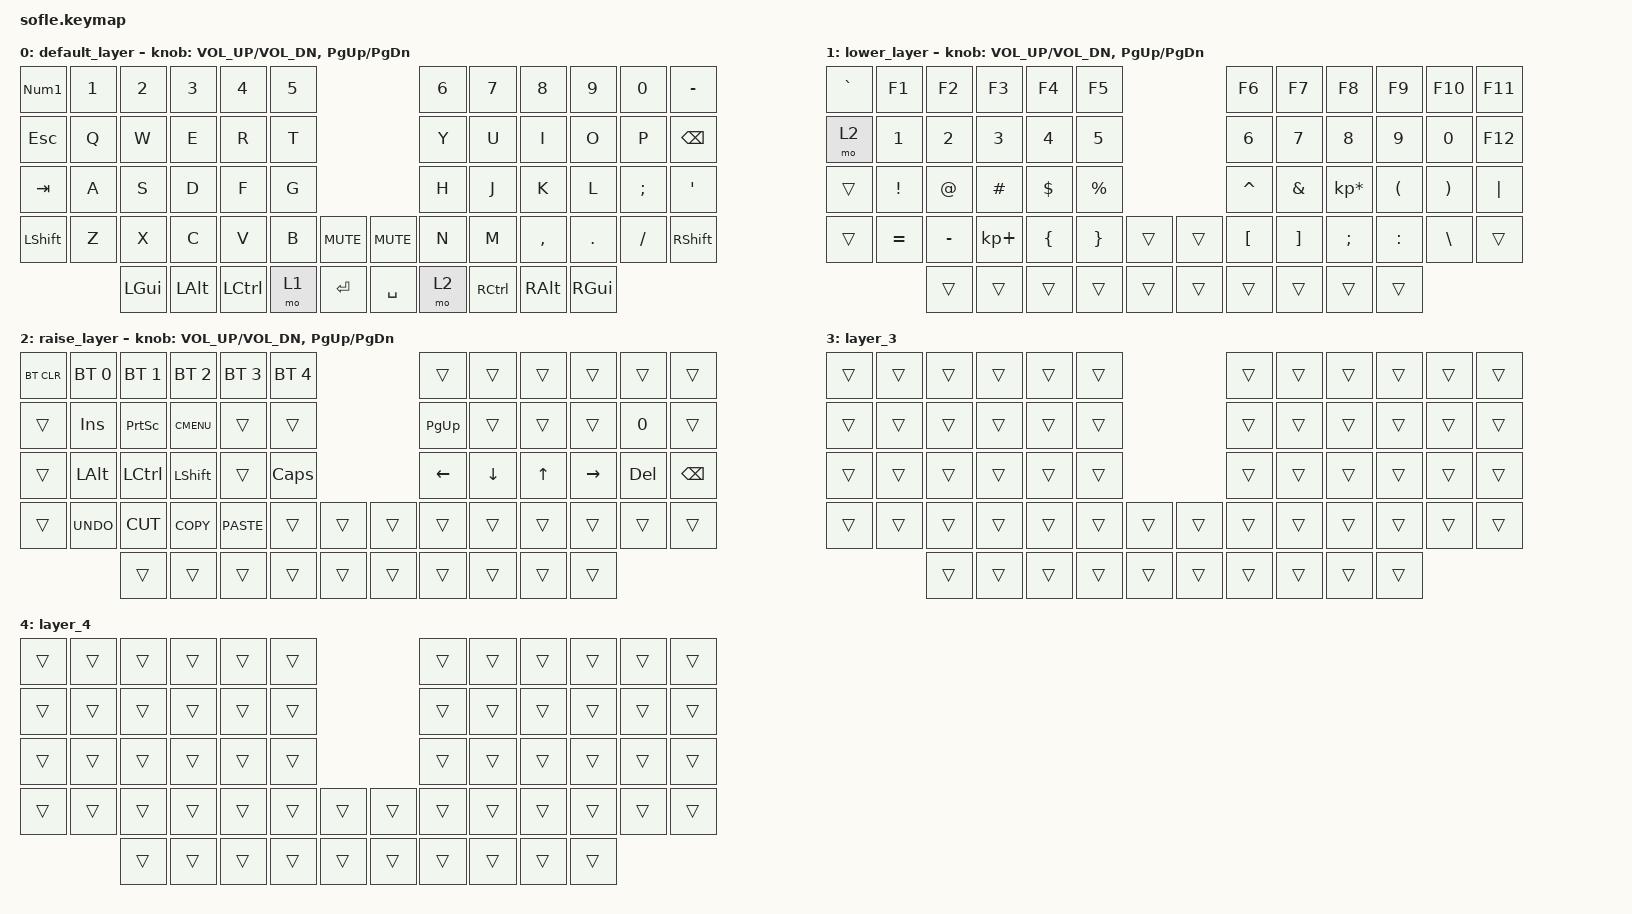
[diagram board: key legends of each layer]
/*
 * Copyright (c) 2020 The ZMK Contributors
 *
 * SPDX-License-Identifier: MIT
 */

#include <behaviors.dtsi>
#include <dt-bindings/zmk/bt.h>
#include <dt-bindings/zmk/keys.h>

/ {
    behaviors {
        Num1: Num1 {
            compatible = "zmk,behavior-tap-dance";
            label = "NUM1";
            #binding-cells = <0>;
            bindings = <&kp NUMBER_1>, <&kp EXCLAMATION>;

            tapping-term-ms = <100>;
        };
    };

    keymap {
        compatible = "zmk,keymap";

        default_layer {
            // ------------------------------------------------------------------------------------------------------------
            // |  `    |  1  |  2  |  3   |  4   |  5   |                   |  6   |  7    |  8    |  9   |   0   |       |
            // |  ESC  |  Q  |  W  |  E   |  R   |  T   |                   |  Y   |  U    |  I    |  O   |   P   | BKSPC |
            // |  TAB  |  A  |  S  |  D   |  F   |  G   |                   |  H   |  J    |  K    |  L   |   ;   |   '   |
            // | SHIFT |  Z  |  X  |  C   |  V   |  B   |  MUTE  |  |       |  N   |  M    |  ,    |  .   |   /   | SHIFT |
            //               | GUI | ALT  | CTRL | LOWER|  ENTER |  | SPACE | RAISE| CTRL  | ALT   | GUI  |

            bindings = <
&Num1      &kp N1  &kp N2    &kp N3    &kp N4     &kp N5                            &kp N6  &kp N7     &kp N8     &kp N9    &kp N0    &kp MINUS
&kp ESC    &kp Q   &kp W     &kp E     &kp R      &kp T                             &kp Y   &kp U      &kp I      &kp O     &kp P     &kp BSPC
&kp TAB    &kp A   &kp S     &kp D     &kp F      &kp G                             &kp H   &kp J      &kp K      &kp L     &kp SEMI  &kp SQT
&kp LSHFT  &kp Z   &kp X     &kp C     &kp V      &kp B   &kp C_MUTE    &kp C_MUTE  &kp N   &kp M      &kp COMMA  &kp DOT   &kp FSLH  &kp RSHFT
                   &kp LGUI  &kp LALT  &kp LCTRL  &mo 1   &kp RET       &kp SPACE   &mo 2   &kp RCTRL  &kp RALT   &kp RGUI
            >;

            sensor-bindings = <&inc_dec_kp C_VOL_UP C_VOL_DN &inc_dec_kp PG_UP PG_DN>;
        };

        lower_layer {
            // TODO: Some binds are waiting for shifted keycode support.
            // ------------------------------------------------------------------------------------------------------------
            // | `     |  F1 |  F2 |  F3  |  F4  |  F5  |                   |  F6  |  F7   |  F8   |  F9  |  F10  |  F11  |
            // | RAISE |   1 |   2 |   3  |   4  |   5  |                   |   6  |   7   |   8   |   9  |    0  |  F12  |
            // |       |  !  |  @  |  #   |  $   |  %   |                   |  ^   |  &    |  *    |  (   |   )   |   |   |
            // |       |  =  |  -  |  +   |  {   |  }   |        |  |       |  [   |  ]    |  ;    |  :   |   \   |       |
            //               |     |      |      |      |        |  |       |      |       |       |      |

            bindings = <
&kp GRAVE  &kp F1     &kp F2     &kp F3       &kp F4    &kp F5                       &kp F6     &kp F7    &kp F8           &kp F9     &kp F10   &kp F11
&mo 2      &kp N1     &kp N2     &kp N3       &kp N4    &kp N5                       &kp N6     &kp N7    &kp N8           &kp N9     &kp N0    &kp F12
&trans     &kp EXCL   &kp AT     &kp HASH     &kp DLLR  &kp PRCNT                    &kp CARET  &kp AMPS  &kp KP_MULTIPLY  &kp LPAR   &kp RPAR  &kp PIPE
&trans     &kp EQUAL  &kp MINUS  &kp KP_PLUS  &kp LBRC  &kp RBRC   &trans    &trans  &kp LBKT   &kp RBKT  &kp SEMI         &kp COLON  &kp BSLH  &trans
                      &trans     &trans       &trans    &trans     &trans    &trans  &trans     &trans    &trans           &trans
            >;

            sensor-bindings = <&inc_dec_kp C_VOL_UP C_VOL_DN &inc_dec_kp PG_UP PG_DN>;
        };

        raise_layer {
            // ------------------------------------------------------------------------------------------------------------
            // |BTCLR| BT1  | BT2  |  BT3  |  BT4  |  BT5 |                |      |      |       |      |       |       |
            // |     | INS  | PSCR | GUI   |       |      |                | PGUP |      |       |      |       |       |
            // |     | ALT  | CTRL | SHIFT |       | CAPS |                |  <-  |   v  |   ^   |  ->  |  DEL  | BKSPC |
            // |     | UNDO | CUT  | COPY  | PASTE |      |      |  |      |      |      |       |      |       |       |
            //              |      |       |       |      |      |  |      |      |      |       |      |

            bindings = <
&bt BT_CLR  &bt BT_SEL 0  &bt BT_SEL 1  &bt BT_SEL 2  &bt BT_SEL 3  &bt BT_SEL 4                    &trans     &trans    &trans  &trans     &trans   &trans
&trans      &kp INS       &kp PSCRN     &kp K_CMENU   &trans        &trans                          &kp PG_UP  &trans    &trans  &trans     &kp N0   &trans
&trans      &kp LALT      &kp LCTRL     &kp LSHFT     &trans        &kp CLCK                        &kp LEFT   &kp DOWN  &kp UP  &kp RIGHT  &kp DEL  &kp BSPC
&trans      &kp K_UNDO    &kp K_CUT     &kp K_COPY    &kp K_PASTE   &trans        &trans    &trans  &trans     &trans    &trans  &trans     &trans   &trans
                          &trans        &trans        &trans        &trans        &trans    &trans  &trans     &trans    &trans  &trans
            >;

            sensor-bindings = <&inc_dec_kp C_VOL_UP C_VOL_DN &inc_dec_kp PG_UP PG_DN>;
        };

        layer_3 {
            bindings = <
&trans  &trans  &trans  &trans  &trans  &trans                    &trans  &trans  &trans  &trans  &trans  &trans
&trans  &trans  &trans  &trans  &trans  &trans                    &trans  &trans  &trans  &trans  &trans  &trans
&trans  &trans  &trans  &trans  &trans  &trans                    &trans  &trans  &trans  &trans  &trans  &trans
&trans  &trans  &trans  &trans  &trans  &trans  &trans    &trans  &trans  &trans  &trans  &trans  &trans  &trans
                &trans  &trans  &trans  &trans  &trans    &trans  &trans  &trans  &trans  &trans
            >;
        };

        layer_4 {
            bindings = <
&trans  &trans  &trans  &trans  &trans  &trans                    &trans  &trans  &trans  &trans  &trans  &trans
&trans  &trans  &trans  &trans  &trans  &trans                    &trans  &trans  &trans  &trans  &trans  &trans
&trans  &trans  &trans  &trans  &trans  &trans                    &trans  &trans  &trans  &trans  &trans  &trans
&trans  &trans  &trans  &trans  &trans  &trans  &trans    &trans  &trans  &trans  &trans  &trans  &trans  &trans
                &trans  &trans  &trans  &trans  &trans    &trans  &trans  &trans  &trans  &trans
            >;
        };
    };
};
